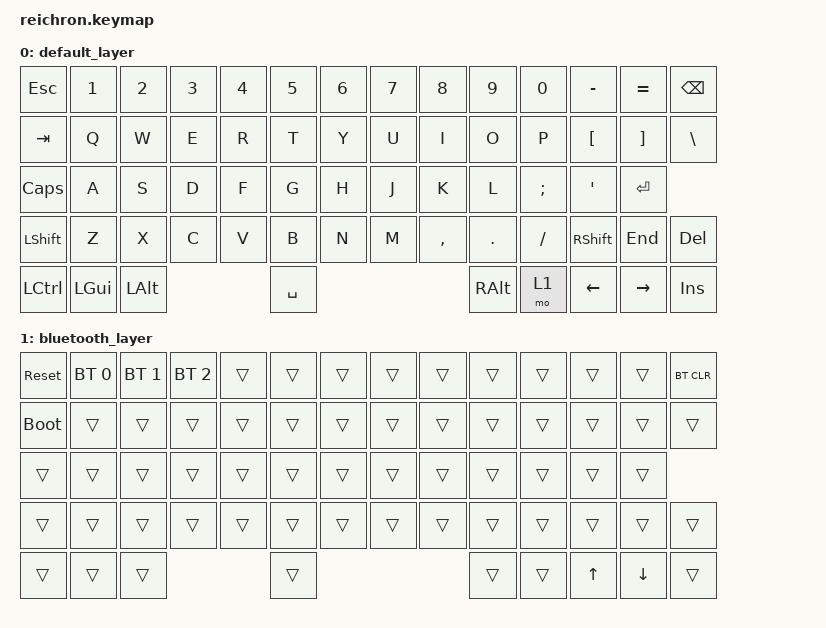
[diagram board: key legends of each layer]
#include <behaviors.dtsi>
#include <dt-bindings/zmk/keys.h>
#include <dt-bindings/zmk/bt.h>

#define DEFAULT WIN
#define BLUETOOTH BT   

/ {
    behaviors {
        // Toggle layer on only (can't toggle off accidentally)
        tog_on: toggle_layer_on_only {
            compatible = "zmk,behavior-toggle-layer";
            #binding-cells = <1>;
            display-name = "Toggle Layer On";
            toggle-mode = "on";
        };
    };

    keymap {
        compatible = "zmk,keymap";
        layer-labels = "Windows", "System";
        
        // Default layer (Windows/Linux)
        default_layer {
            bindings = <
&kp ESC   &kp N1   &kp N2   &kp N3   &kp N4   &kp N5   &kp N6   &kp N7    &kp N8    &kp N9   &kp N0    &kp MINUS &kp EQUAL &kp BSPC
&kp TAB   &kp Q    &kp W    &kp E    &kp R    &kp T    &kp Y    &kp U     &kp I     &kp O    &kp P     &kp LBKT  &kp RBKT  &kp BSLH
&kp CAPS  &kp A    &kp S    &kp D    &kp F    &kp G    &kp H    &kp J     &kp K     &kp L    &kp SEMI  &kp SQT   &kp RET
&kp LSHFT &kp Z    &kp X    &kp C    &kp V    &kp B    &kp N    &kp M     &kp COMMA &kp DOT  &kp FSLH  &kp RSHFT &kp END   &kp DEL
&kp LCTRL &kp LGUI &kp LALT                      &kp SPACE                          &kp RALT &mo 1     &kp LEFT  &kp RIGHT &kp INS
            >;
        };
        
        // Bluetooth and system layer
        bluetooth_layer {
            bindings = <
&sys_reset     &bt BT_SEL 0 &bt BT_SEL 1 &bt BT_SEL 2 &trans       &trans       &trans      &trans       &trans       &trans       &trans   &trans &trans &bt BT_CLR
&bootloader    &trans       &trans       &trans       &trans       &trans       &trans      &trans       &trans       &trans       &trans   &trans &trans &trans
&trans         &trans       &trans       &trans       &trans       &trans       &trans      &trans       &trans       &trans       &trans   &trans        &trans
&trans         &trans       &trans       &trans       &trans       &trans       &trans      &trans       &trans       &trans       &trans   &trans &trans &trans
&trans         &trans       &trans                    &trans                                &trans       &trans       &kp UP       &kp DOWN &trans
            >;
        };
    };
};
